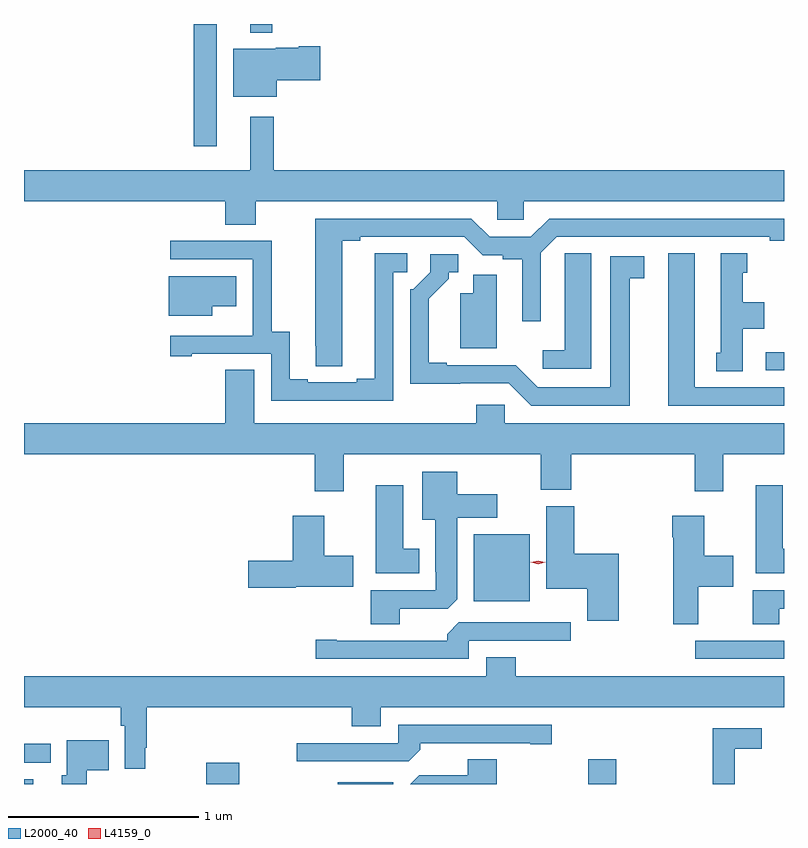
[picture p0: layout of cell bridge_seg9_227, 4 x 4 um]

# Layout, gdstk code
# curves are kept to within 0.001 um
import gdstk
lib = gdstk.Library(unit=1e-6, precision=1e-09)
def R(c, l, rs):  # rectangles x0, y0, x1, y1
    for r in rs: c.add(gdstk.rectangle(r[:2], r[2:], *l))
def P(c, l, *ps):  # polygons
    for p in ps: c.add(gdstk.Polygon(p, *l))
L2000_40 = (2000, 40)
L4159_0 = (4159, 0)

bridge_seg9_227 = lib.new_cell('bridge_seg9_227')
R(bridge_seg9_227, L2000_40, [(142.843,1218.661,142.891,1218.685), (143.803,1218.661,143.976,1218.772), (144.494,1218.661,144.787,1218.67), (145.814,1218.661,145.961,1218.79), (142.843,1218.774,142.984,1218.872), (146.376,1219.32,146.843,1219.416), (145.211,1219.622,145.504,1219.975), (146.748,1220.838,146.843,1220.934), (143.736,1222.017,143.857,1222.661), (144.035,1222.616,144.149,1222.661)])
P(bridge_seg9_227, L2000_40, [(144.172,1222.366),(144.403,1222.366),(144.403,1222.544),(144.29,1222.544),(144.29,1222.537),(144.168,1222.537),(144.168,1222.531),(143.945,1222.531),(143.945,1222.277),(144.172,1222.277)],
  [(144.063,1221.728),(145.335,1221.728),(145.335,1221.63),(145.473,1221.63),(145.473,1221.728),(146.843,1221.728),(146.843,1221.892),(144.157,1221.892),(144.157,1222.174),(144.035,1222.174),(144.035,1221.892),(142.843,1221.892),(142.843,1221.728),(143.903,1221.728),(143.903,1221.604),(144.063,1221.604)],
  [(144.517,1221.52),(144.613,1221.52),(144.613,1221.54),(145.161,1221.54),(145.257,1221.444),(145.362,1221.444),(145.362,1221.424),(145.466,1221.424),(145.466,1221.096),(145.563,1221.096),(145.563,1221.456),(145.647,1221.54),(146.768,1221.54),(146.768,1221.52),(146.843,1221.52),(146.843,1221.636),(145.607,1221.636),(145.511,1221.54),(145.293,1221.54),(145.197,1221.636),(144.377,1221.636),(144.378,1220.86),(144.517,1220.86)],
  [(144.786,1221.354),(144.859,1221.354),(144.859,1221.455),(144.689,1221.455),(144.689,1220.795),(144.593,1220.795),(144.593,1220.775),(144.337,1220.775),(144.337,1220.79),(144.241,1220.79),(144.241,1221.041),(144.147,1221.041),(144.147,1221.519),(143.613,1221.519),(143.613,1221.423),(144.048,1221.423),(144.048,1221.022),(144.047,1221.022),(144.047,1221.021),(143.613,1221.021),(143.613,1220.913),(143.725,1220.913),(143.725,1220.925),(144.144,1220.925),(144.144,1220.679),(144.786,1220.679)],
  [(145.828,1221.455),(145.689,1221.455),(145.689,1221.347),(145.688,1221.347),(145.688,1220.944),(145.572,1220.944),(145.572,1220.847),(145.828,1220.847)],
  [(146.843,1220.748),(146.374,1220.748),(146.374,1221.454),(146.234,1221.454),(146.234,1220.652),(146.843,1220.652)],
  [(146.626,1221.056),(146.74,1221.056),(146.74,1221.196),(146.626,1221.196),(146.626,1221.351),(146.65,1221.351),(146.65,1221.454),(146.51,1221.454),(146.51,1220.931),(146.486,1220.931),(146.486,1220.833),(146.626,1220.833)],
  [(146.032,1221.322),(146.107,1221.322),(146.107,1221.438),(145.928,1221.438),(145.928,1220.748),(145.548,1220.748),(145.431,1220.865),(145.069,1220.865),(145.069,1220.878),(144.973,1220.878),(144.973,1221.214),(145.078,1221.319),(145.078,1221.354),(145.128,1221.354),(145.128,1221.45),(144.981,1221.45),(144.981,1221.354),(144.891,1221.264),(144.876,1221.264),(144.876,1220.768),(145.395,1220.769),(145.512,1220.652),(146.032,1220.652)],
  [(145.33,1221.342),(145.208,1221.342),(145.208,1221.244),(145.139,1221.244),(145.139,1220.954),(145.33,1220.954)],
  [(143.833,1221.176),(143.959,1221.176),(143.959,1221.334),(143.606,1221.334),(143.606,1221.125),(143.833,1221.125)],
  [(145.564,1220.209),(145.724,1220.209),(145.724,1220.396),(146.372,1220.396),(146.372,1220.202),(146.524,1220.202),(146.524,1220.396),(146.843,1220.396),(146.843,1220.56),(145.374,1220.56),(145.374,1220.658),(145.223,1220.658),(145.223,1220.56),(144.055,1220.56),(144.055,1220.84),(143.903,1220.84),(143.903,1220.56),(142.843,1220.56),(142.843,1220.396),(144.374,1220.396),(144.374,1220.202),(144.526,1220.202),(144.526,1220.396),(145.564,1220.396)],
  [(144.82,1219.584),(145.074,1219.584),(145.123,1219.633),(145.123,1220.063),(145.333,1220.063),(145.333,1220.185),(145.123,1220.185),(145.123,1220.305),(144.938,1220.305),(144.938,1220.051),(145.007,1220.051),(145.007,1219.777),(145.011,1219.777),(145.011,1219.68),(144.668,1219.68),(144.668,1219.501),(144.82,1219.501)],
  [(146.843,1219.9),(146.836,1219.9),(146.836,1220.233),(146.693,1220.233),(146.693,1219.769),(146.843,1219.769)],
  [(144.922,1219.9),(144.838,1219.9),(144.838,1220.233),(144.695,1220.233),(144.695,1219.769),(144.922,1219.769)],
  [(145.974,1219.873),(145.739,1219.873),(145.739,1220.124),(145.592,1220.124),(145.592,1219.688),(145.808,1219.688),(145.808,1219.521),(145.974,1219.521)],
  [(144.273,1219.7),(144.577,1219.7),(144.577,1219.863),(144.424,1219.863),(144.424,1220.074),(144.257,1220.074),(144.257,1219.835),(144.024,1219.835),(144.024,1219.693),(144.273,1219.693)],
  [(146.392,1219.7),(146.575,1219.7),(146.575,1219.863),(146.422,1219.863),(146.422,1220.074),(146.255,1220.074),(146.255,1219.961),(146.26,1219.961),(146.26,1219.503),(146.392,1219.503)],
  [(146.818,1219.584),(146.843,1219.584),(146.843,1219.68),(146.678,1219.68),(146.678,1219.501),(146.818,1219.501)],
  [(145.185,1219.416),(145.72,1219.416),(145.72,1219.512),(145.131,1219.512),(145.07,1219.45),(145.07,1219.416),(144.49,1219.416),(144.49,1219.421),(144.378,1219.421),(144.378,1219.32),(145.185,1219.32)],
  [(143.482,1218.853),(143.489,1218.853),(143.489,1219.064),(144.569,1219.064),(144.569,1218.965),(144.721,1218.965),(144.721,1219.064),(146.843,1219.064),(146.843,1219.228),(145.43,1219.228),(145.43,1219.327),(145.277,1219.327),(145.277,1219.228),(142.843,1219.228),(142.843,1219.064),(143.353,1219.064),(143.353,1218.968),(143.373,1218.968),(143.373,1218.741),(143.482,1218.741)],
  [(144.929,1218.842),(144.929,1218.876),(145.508,1218.876),(145.508,1218.871),(145.621,1218.871),(145.621,1218.972),(144.813,1218.972),(144.813,1218.876),(144.279,1218.876),(144.279,1218.78),(144.867,1218.78)],
  [(146.585,1218.846),(146.725,1218.846),(146.725,1218.954),(146.467,1218.954),(146.467,1218.661),(146.585,1218.661)],
  [(143.173,1218.734),(143.288,1218.734),(143.288,1218.892),(143.069,1218.892),(143.069,1218.708),(143.042,1218.708),(143.042,1218.661),(143.173,1218.661)],
  [(145.331,1218.791),(145.178,1218.791),(145.178,1218.708),(144.924,1218.708),(144.877,1218.661),(145.331,1218.661)])
P(bridge_seg9_227, L4159_0, [(145.549,1219.817),(145.511,1219.827),(145.511,1219.827),(145.511,1219.827),(145.549,1219.837),(145.587,1219.827),(145.587,1219.827),(145.587,1219.827)])

lib.write_gds('bridge_seg9_227.gds')
